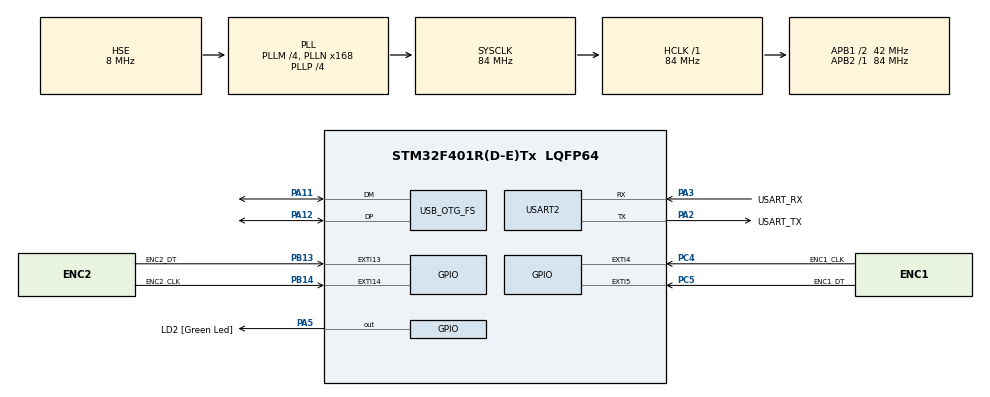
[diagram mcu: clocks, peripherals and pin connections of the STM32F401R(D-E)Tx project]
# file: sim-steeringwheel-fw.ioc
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Mcu.Family=STM32F4
Mcu.Name=STM32F401R(D-E)Tx
Mcu.Package=LQFP64
NVIC.EXTI15_10_IRQn=true\:0\:0\:false\:false\:true\:true\:true\:true
NVIC.EXTI4_IRQn=true\:0\:0\:false\:false\:true\:true\:true\:true
NVIC.EXTI9_5_IRQn=true\:0\:0\:false\:false\:true\:true\:true\:true
NVIC.OTG_FS_IRQn=true\:0\:0\:false\:false\:true\:false\:true\:true
NVIC.PriorityGroup=NVIC_PRIORITYGROUP_4
PA11.Mode=Device_Only
PA11.Signal=USB_OTG_FS_DM
PA12.Mode=Device_Only
PA12.Signal=USB_OTG_FS_DP
PA13.GPIO_Label=TMS
PA13.Mode=Trace_Asynchronous_SW
PA13.Signal=SYS_JTMS-SWDIO
PA14.GPIO_Label=TCK
PA14.Mode=Trace_Asynchronous_SW
PA14.Signal=SYS_JTCK-SWCLK
PA2.GPIO_Label=USART_TX
PA2.GPIO_Mode=GPIO_MODE_AF_PP
PA2.GPIO_PuPd=GPIO_NOPULL
PA2.GPIO_Speed=GPIO_SPEED_FREQ_LOW
PA2.Mode=Asynchronous
PA2.Signal=USART2_TX
PA3.GPIO_Label=USART_RX
PA3.GPIO_Mode=GPIO_MODE_AF_PP
PA3.GPIO_PuPd=GPIO_NOPULL
PA3.GPIO_Speed=GPIO_SPEED_FREQ_LOW
PA3.Mode=Asynchronous
PA3.Signal=USART2_RX
PA5.GPIO_Label=LD2 [Green Led]
PA5.GPIO_Mode=GPIO_MODE_OUTPUT_PP
PA5.GPIO_PuPd=GPIO_NOPULL
PA5.GPIO_Speed=GPIO_SPEED_FREQ_LOW
PA5.Signal=GPIO_Output
PB13.GPIO_Label=ENC2_DT
PB13.GPIO_ModeDefaultEXTI=GPIO_MODE_IT_RISING_FALLING
PB13.Signal=GPXTI13
PB14.GPIO_Label=ENC2_CLK
PB14.GPIO_ModeDefaultEXTI=GPIO_MODE_IT_RISING_FALLING
PB14.Signal=GPXTI14
PB3.GPIO_Label=SWO
PB3.Mode=Trace_Asynchronous_SW
PB3.Signal=SYS_JTDO-SWO
PC14-OSC32_IN.Mode=LSE-External-Oscillator
PC14-OSC32_IN.Signal=RCC_OSC32_IN
PC15-OSC32_OUT.Mode=LSE-External-Oscillator
PC15-OSC32_OUT.Signal=RCC_OSC32_OUT
PC4.GPIO_Label=ENC1_CLK
PC4.GPIO_ModeDefaultEXTI=GPIO_MODE_IT_RISING_FALLING
PC4.Signal=GPXTI4
PC5.GPIO_Label=ENC1_DT
PC5.GPIO_ModeDefaultEXTI=GPIO_MODE_IT_RISING_FALLING
PC5.Signal=GPXTI5
PH0\ -\ OSC_IN.Mode=HSE-External-Clock-Source
PH0\ -\ OSC_IN.Signal=RCC_OSC_IN
PH1\ -\ OSC_OUT.Signal=RCC_OSC_OUT
ProjectManager.HeapSize=0x200
ProjectManager.StackSize=0x400
ProjectManager.TargetToolchain=CMake
RCC.48MHZClocksFreq_Value=48000000
RCC.AHBFreq_Value=84000000
RCC.APB1CLKDivider=RCC_HCLK_DIV2
RCC.APB1Freq_Value=42000000
RCC.APB1TimFreq_Value=84000000
RCC.APB2Freq_Value=84000000
RCC.APB2TimFreq_Value=84000000
RCC.CortexFreq_Value=84000000
RCC.HCLKFreq_Value=84000000
RCC.HSE_VALUE=8000000
RCC.HSI_VALUE=16000000
RCC.PLLM=4
RCC.PLLN=168
RCC.PLLP=RCC_PLLP_DIV4
RCC.PLLQ=7
RCC.SYSCLKFreq_VALUE=84000000
RCC.SYSCLKSource=RCC_SYSCLKSOURCE_PLLCLK
RCC.VCOOutputFreq_Value=336000000
USART2.VirtualMode=VM_ASYNC
USB_DEVICE.CLASS_NAME_FS=CUSTOM_HID
USB_DEVICE.CUSTOM_HID_FS_BINTERVAL=0x1
USB_DEVICE.PRODUCT_STRING_CUSTOMHID_FS=Ajay's Sim Wheel
USB_DEVICE.USBD_CUSTOM_HID_REPORT_DESC_SIZE-CUSTOM_HID_FS=29
USB_DEVICE.VirtualMode-CUSTOM_HID_FS=CustomHid
USB_DEVICE.VirtualModeFS=Custom_Hid_FS
USB_OTG_FS.VirtualMode=Device_Only
VP_USB_DEVICE_VS_USB_DEVICE_CUSTOM_HID_FS.Mode=CUSTOM_HID_FS
board=NUCLEO-F401RE

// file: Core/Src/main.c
/* USER CODE BEGIN Header */
/**
  ******************************************************************************
  * @file           : main.c
  * @brief          : Main program body
  ******************************************************************************
  * @attention
  *
  * Copyright (c) 2026 STMicroelectronics.
  * All rights reserved.
  *
  * This software is licensed under terms that can be found in the LICENSE file
  * in the root directory of this software component.
  * If no LICENSE file comes with this software, it is provided AS-IS.
  *
  ******************************************************************************
  */
/* USER CODE END Header */
#include "main.h"
#include "usb_device.h"

/* USER CODE BEGIN Includes */
#include "usbd_customhid.h"
/* USER CODE END Includes */

/* USER CODE BEGIN PD */

/* Rotational Encoder 1 Defs */
#define ENC1_CW   (1 << 0)   // bit 0 → Button 1
#define ENC1_CCW  (1 << 1)   // bit 1 → Button 2

/* Rotational Encoder 2 Defs */
#define ENC2_CW   (1 << 2)   // bit 2 → Button 3
#define ENC2_CCW  (1 << 3)   // bit 3 → Button 4

/* USER CODE END PD */

UART_HandleTypeDef huart2;

/* USER CODE BEGIN PV */
extern USBD_HandleTypeDef hUsbDeviceFS;
/* Rotational Encoder 1 PVs */
volatile uint32_t enc1_cw_received = 0;
volatile uint32_t enc1_ccw_received = 0;

/* Rotational Encoder 2 PVs */
volatile uint32_t enc2_cw_received = 0;
volatile uint32_t enc2_ccw_received = 0;

/* USER CODE END PV */

void SystemClock_Config(void);
static void MX_GPIO_Init(void);
static void MX_USART2_UART_Init(void);

/* USER CODE BEGIN 0 */
void HAL_GPIO_EXTI_Callback(uint16_t GPIO_Pin){
  static const int8_t debounce_table[16] = {
                    /* now = 00  now = 01  now = 10  now = 11 */
    /* prev = 00 */ 0,   -1,    +1,   0,
    /* prev = 01 */+1,    0,     0,  -1,
    /* prev = 10 */-1,    0,    0, +1,
    /* prev = 11 */0,  +1,   -1,  0
    };

  if(GPIO_Pin == ENC1_CLK_Pin || GPIO_Pin == ENC1_DT_Pin){
    static uint8_t prev = 0b11;
    static int8_t subcount = 0x00;

    uint8_t now = HAL_GPIO_ReadPin(ENC1_CLK_GPIO_Port, ENC1_CLK_Pin) << 1 | HAL_GPIO_ReadPin(ENC1_DT_GPIO_Port, ENC1_DT_Pin);
    subcount += debounce_table[(prev << 2) | (now)];
    if (now == 0b11 && subcount != 4 && subcount != -4){
      subcount = 0;
    }
    else if (now == 0b11 && subcount == 4){
      enc1_cw_received++;
      subcount = 0;
    }
    else if (now == 0b11 && subcount == -4){
      enc1_ccw_received++;
      subcount = 0;
    }
    prev = now;
  }

  if(GPIO_Pin == ENC2_CLK_Pin || GPIO_Pin == ENC2_DT_Pin){
    static uint8_t prev = 0b11;
    static int8_t subcount = 0x00;

    uint8_t now = HAL_GPIO_ReadPin(ENC2_CLK_GPIO_Port, ENC2_CLK_Pin) << 1 | HAL_GPIO_ReadPin(ENC2_DT_GPIO_Port, ENC2_DT_Pin);
    subcount += debounce_table[(prev << 2) | (now)];
    if (now == 0b11 && subcount != 4 && subcount != -4){
      subcount = 0;
    }
    else if (now == 0b11 && subcount == 4){
      enc2_cw_received++;
      subcount = 0;
    }
    else if (now == 0b11 && subcount == -4){
      enc2_ccw_received++;
      subcount = 0;
    }
    prev = now;
  }
}
/* USER CODE END 0 */

int main(void)
{

  /* MCU Configuration--------------------------------------------------------*/

  /* Reset of all peripherals, Initializes the Flash interface and the Systick. */
  HAL_Init();

  /* Configure the system clock */
  SystemClock_Config();

  /* Initialize all configured peripherals */
  MX_GPIO_Init();
  MX_USART2_UART_Init();
  MX_USB_DEVICE_Init();
  /* USER CODE BEGIN 2 */
  uint32_t enc1_cw_sent = 0;
  uint32_t enc1_ccw_sent = 0;

  uint32_t enc2_cw_sent = 0;
  uint32_t enc2_ccw_sent = 0;

  uint8_t report = 0x00;
  /* USER CODE END 2 */

  /* Infinite loop */
  /* USER CODE BEGIN WHILE */
  while (1)
  {
    /* Set ENC1 Values in USB Report */
    if(enc1_cw_sent != enc1_cw_received){
      report |= ENC1_CW;
      enc1_cw_sent++;
    }
    else if(enc1_ccw_sent != enc1_ccw_received){
      report |= ENC1_CCW;
      enc1_ccw_sent++;
    }

    /* Set ENC2 Values in USB Report */
    if(enc2_cw_sent != enc2_cw_received){
      report |= ENC2_CW;
      enc2_cw_sent++;
    }
    else if(enc2_ccw_sent != enc2_ccw_received){
      report |= ENC2_CCW;
      enc2_ccw_sent++;
    }

    uint32_t start_time = HAL_GetTick();
    while (HAL_GetTick()-start_time < 50 ){
      USBD_CUSTOM_HID_SendReport(&hUsbDeviceFS, &report, 1);
    }

    /* Reset ENC1 Values back to 0 */
    report &= (~ENC1_CW);
    report &= (~ENC1_CCW);

    /* Reset ENC2 Values back to 0 */
    report &= (~ENC2_CW);
    report &= (~ENC2_CCW);

    /* USER CODE END WHILE */

  }
}

void SystemClock_Config(void)
{
  RCC_OscInitTypeDef RCC_OscInitStruct = {0};
  RCC_ClkInitTypeDef RCC_ClkInitStruct = {0};

  /** Configure the main internal regulator output voltage
  */
  __HAL_RCC_PWR_CLK_ENABLE();
  __HAL_PWR_VOLTAGESCALING_CONFIG(PWR_REGULATOR_VOLTAGE_SCALE2);

  /** Initializes the RCC Oscillators according to the specified parameters
  * in the RCC_OscInitTypeDef structure.
  */
  RCC_OscInitStruct.OscillatorType = RCC_OSCILLATORTYPE_HSE;
  RCC_OscInitStruct.HSEState = RCC_HSE_BYPASS;
  RCC_OscInitStruct.PLL.PLLState = RCC_PLL_ON;
  RCC_OscInitStruct.PLL.PLLSource = RCC_PLLSOURCE_HSE;
  RCC_OscInitStruct.PLL.PLLM = 4;
  RCC_OscInitStruct.PLL.PLLN = 168;
  RCC_OscInitStruct.PLL.PLLP = RCC_PLLP_DIV4;
  RCC_OscInitStruct.PLL.PLLQ = 7;
  if (HAL_RCC_OscConfig(&RCC_OscInitStruct) != HAL_OK)
  {
    Error_Handler();
  }

  /** Initializes the CPU, AHB and APB buses clocks
  */
  RCC_ClkInitStruct.ClockType = RCC_CLOCKTYPE_HCLK|RCC_CLOCKTYPE_SYSCLK
                              |RCC_CLOCKTYPE_PCLK1|RCC_CLOCKTYPE_PCLK2;
  RCC_ClkInitStruct.SYSCLKSource = RCC_SYSCLKSOURCE_PLLCLK;
  RCC_ClkInitStruct.AHBCLKDivider = RCC_SYSCLK_DIV1;
  RCC_ClkInitStruct.APB1CLKDivider = RCC_HCLK_DIV2;
  RCC_ClkInitStruct.APB2CLKDivider = RCC_HCLK_DIV1;

  if (HAL_RCC_ClockConfig(&RCC_ClkInitStruct, FLASH_LATENCY_2) != HAL_OK)
  {
    Error_Handler();
  }
}

static void MX_USART2_UART_Init(void)
{

  huart2.Instance = USART2;
  huart2.Init.BaudRate = 115200;
  huart2.Init.WordLength = UART_WORDLENGTH_8B;
  huart2.Init.StopBits = UART_STOPBITS_1;
  huart2.Init.Parity = UART_PARITY_NONE;
  huart2.Init.Mode = UART_MODE_TX_RX;
  huart2.Init.HwFlowCtl = UART_HWCONTROL_NONE;
  huart2.Init.OverSampling = UART_OVERSAMPLING_16;
  if (HAL_UART_Init(&huart2) != HAL_OK)
  {
    Error_Handler();
  }

}

static void MX_GPIO_Init(void)
{
  GPIO_InitTypeDef GPIO_InitStruct = {0};

  /* GPIO Ports Clock Enable */
  __HAL_RCC_GPIOC_CLK_ENABLE();
  __HAL_RCC_GPIOH_CLK_ENABLE();
  __HAL_RCC_GPIOA_CLK_ENABLE();
  __HAL_RCC_GPIOB_CLK_ENABLE();

  /*Configure GPIO pin Output Level */
  HAL_GPIO_WritePin(LD2_GPIO_Port, LD2_Pin, GPIO_PIN_RESET);

  /*Configure GPIO pin : LD2_Pin */
  GPIO_InitStruct.Pin = LD2_Pin;
  GPIO_InitStruct.Mode = GPIO_MODE_OUTPUT_PP;
  GPIO_InitStruct.Pull = GPIO_NOPULL;
  GPIO_InitStruct.Speed = GPIO_SPEED_FREQ_LOW;
  HAL_GPIO_Init(LD2_GPIO_Port, &GPIO_InitStruct);

  /*Configure GPIO pins : ENC1_CLK_Pin ENC1_DT_Pin */
  GPIO_InitStruct.Pin = ENC1_CLK_Pin|ENC1_DT_Pin;
  GPIO_InitStruct.Mode = GPIO_MODE_IT_RISING_FALLING;
  GPIO_InitStruct.Pull = GPIO_NOPULL;
  HAL_GPIO_Init(GPIOC, &GPIO_InitStruct);

  /*Configure GPIO pins : ENC2_DT_Pin ENC2_CLK_Pin */
  GPIO_InitStruct.Pin = ENC2_DT_Pin|ENC2_CLK_Pin;
  GPIO_InitStruct.Mode = GPIO_MODE_IT_RISING_FALLING;
  GPIO_InitStruct.Pull = GPIO_NOPULL;
  HAL_GPIO_Init(GPIOB, &GPIO_InitStruct);

  /* EXTI interrupt init*/
  HAL_NVIC_SetPriority(ENC1_CLK_EXTI_IRQn, 0, 0);
  HAL_NVIC_EnableIRQ(ENC1_CLK_EXTI_IRQn);

  HAL_NVIC_SetPriority(ENC1_DT_EXTI_IRQn, 0, 0);
  HAL_NVIC_EnableIRQ(ENC1_DT_EXTI_IRQn);

  HAL_NVIC_SetPriority(EXTI15_10_IRQn, 0, 0);
  HAL_NVIC_EnableIRQ(EXTI15_10_IRQn);

}

void Error_Handler(void)
{
  __disable_irq();
  while (1)
  {
  }
}
